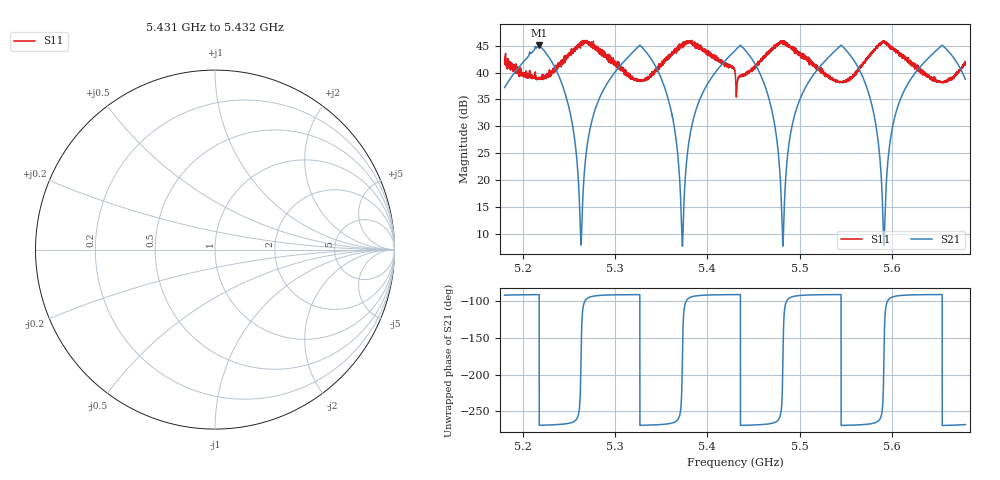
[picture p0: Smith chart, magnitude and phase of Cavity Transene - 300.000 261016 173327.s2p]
# HZ S RI R 50
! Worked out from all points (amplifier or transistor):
!   5000 points, 5.18 GHz to 5.68 GHz, reference 50 ohm
!   highest |S21| = 45.1 dB at 5.218 GHz (marker M1)
!   |S21| within 3 dB of that: 5.636 GHz to 5.67 GHz (33.49 MHz wide, 0.592 % of centre)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
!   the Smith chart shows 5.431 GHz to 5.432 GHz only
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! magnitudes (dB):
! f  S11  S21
! 5.18 GHz  41.9  37.2
! 5.218 GHz  39.0  45.1
! 5.249 GHz  42.9  34.2
! 5.263 GHz  45.3  9.5
! 5.272 GHz  45.2  28.6
! 5.288 GHz  43.6  36.9
! 5.326 GHz  38.6  45.0
! 5.347 GHz  41.2  40.2
! 5.364 GHz  43.9  30.4
! 5.373 GHz  45.2  7.7
! 5.388 GHz  45.4  33.1
! 5.43 GHz  40.1  44.1
! 5.466 GHz  43.8  35.7
! 5.482 GHz  45.7  7.7
! 5.492 GHz  44.8  30.3
! 5.513 GHz  41.8  39.2
! 5.564 GHz  40.3  40.8
! 5.582 GHz  44.2  31.0
! 5.591 GHz  45.8  7.9
! 5.597 GHz  45.2  24.9
! 5.639 GHz  39.5  42.6
! 5.68 GHz  41.9  38.7
